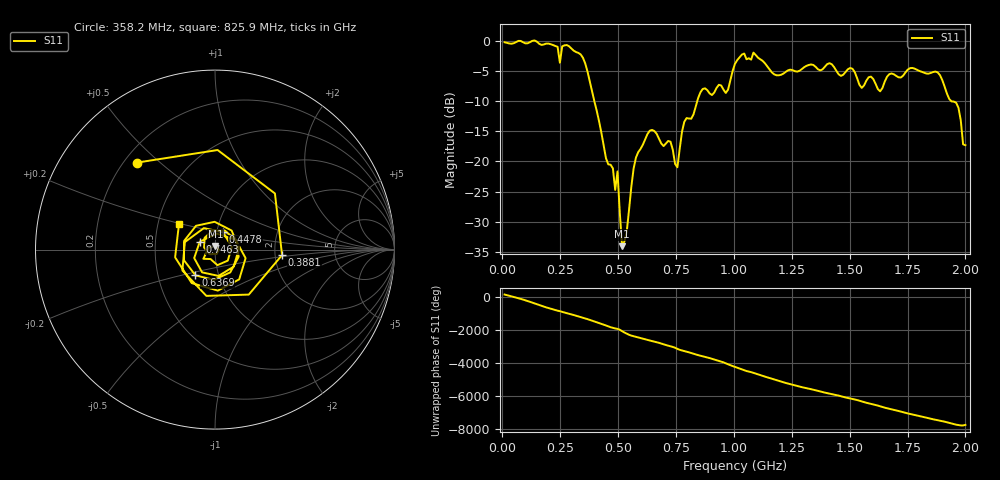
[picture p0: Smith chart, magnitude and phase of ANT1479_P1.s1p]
!Created with skrf (http://scikit-rf.org).
# Hz S RI R 50.0
!freq ReS11 ImS11
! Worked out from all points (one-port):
!   201 points, 10 MHz to 2 GHz, reference 50 ohm
!   lowest |S11| = -34.1 dB at 517.5 MHz (marker M1), VSWR 1.04, Z = 50.2 + j1.98 ohm
!   |S11| at or under -10 dB: 397.6 MHz to 841.9 MHz (444.4 MHz wide, 71.7 % of centre); 1.939 GHz to end of sweep
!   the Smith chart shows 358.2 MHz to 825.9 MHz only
!   S11 on the Smith chart (normalised r, x): 358.2 MHz: 0.25, +0.42; 388.1 MHz: 2.19, -0.16; 447.8 MHz: 1.07, +0.21; 636.9 MHz: 0.77, -0.23; 746.3 MHz: 0.84, +0.07; 825.9 MHz: 0.64, +0.20
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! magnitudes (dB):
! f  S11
! 10 MHz  -0.2
! 248.8 MHz  -3.6
! 258.8 MHz  -0.9
! 358.2 MHz  -3.7
! 388.1 MHz  -8.5
! 447.8 MHz  -19.5
! 487.6 MHz  -24.7
! 497.6 MHz  -21.7
! 507.5 MHz  -28.5
! 517.5 MHz  -34.1
! 537.4 MHz  -31.7
! 577.1 MHz  -19.4
! 636.9 MHz  -14.9
! 726.4 MHz  -16.7
! 746.3 MHz  -20.4
! 756.2 MHz  -21.0
! 786.1 MHz  -13.4
! 825.9 MHz  -12.2
! 865.7 MHz  -8.0
! 965.2 MHz  -8.6
! 1.005 GHz  -3.8
! 1.254 GHz  -4.8
! 1.502 GHz  -4.5
! 1.632 GHz  -8.4
! 1.751 GHz  -4.8
! 1.891 GHz  -5.7
! 1.97 GHz  -11.1
! 2 GHz  -17.3
